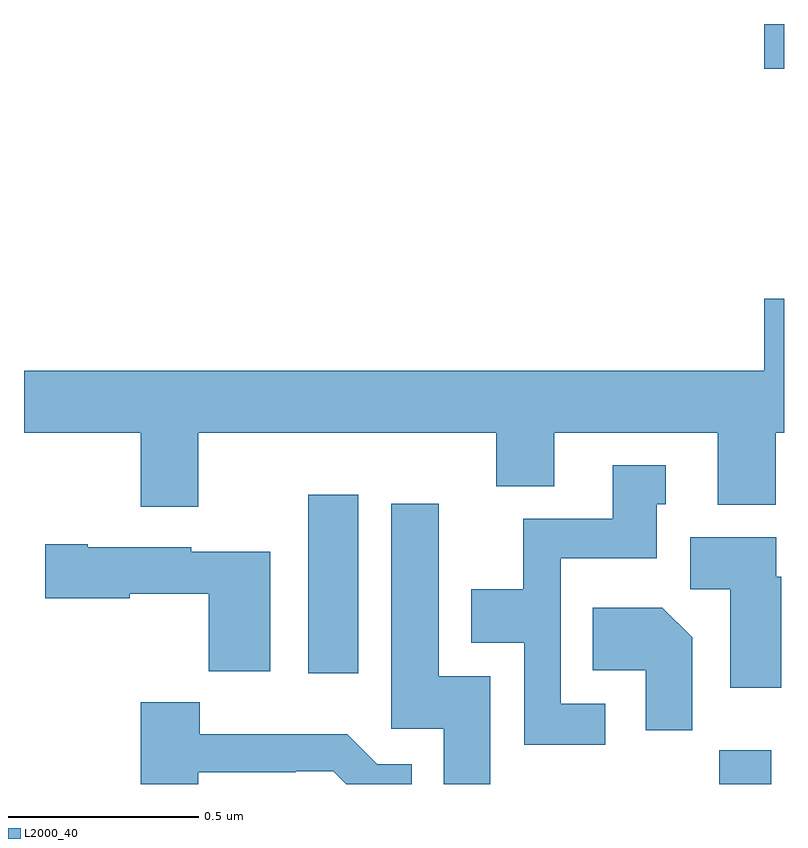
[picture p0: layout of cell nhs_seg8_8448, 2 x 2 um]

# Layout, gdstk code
import gdstk
lib = gdstk.Library(unit=1e-6, precision=1e-09)
def R(c, l, rs):  # rectangles x0, y0, x1, y1
    for r in rs: c.add(gdstk.rectangle(r[:2], r[2:], *l))
def P(c, l, *ps):  # polygons
    for p in ps: c.add(gdstk.Polygon(p, *l))
L2000_40 = (2000, 40)

nhs_seg8_8448 = lib.new_cell('nhs_seg8_8448')
R(nhs_seg8_8448, L2000_40, [(224.83,1124.9,224.966,1124.989), (223.748,1125.192,223.879,1125.661), (224.948,1126.782,225,1126.9)])
P(nhs_seg8_8448, L2000_40, [(223.459,1125.824),(224.243,1125.824),(224.243,1125.683),(224.395,1125.683),(224.395,1125.824),(224.825,1125.824),(224.825,1125.635),(224.978,1125.635),(224.978,1125.824),(225,1125.824),(225,1126.177),(224.948,1126.177),(224.948,1125.988),(223,1125.988),(223,1125.824),(223.307,1125.824),(223.307,1125.63),(223.459,1125.63)],
  [(224.53,1125.111),(224.412,1125.111),(224.412,1125.494),(224.665,1125.494),(224.665,1125.636),(224.689,1125.636),(224.689,1125.739),(224.549,1125.739),(224.549,1125.598),(224.314,1125.598),(224.314,1125.412),(224.177,1125.412),(224.177,1125.272),(224.316,1125.272),(224.316,1125.003),(224.53,1125.003)],
  [(224.227,1125.184),(224.092,1125.184),(224.092,1125.637),(223.967,1125.637),(223.967,1125.045),(224.105,1125.045),(224.105,1124.9),(224.227,1124.9)],
  [(224.993,1125.446),(224.98,1125.446),(224.98,1125.55),(224.753,1125.55),(224.753,1125.412),(224.858,1125.412),(224.858,1125.153),(224.993,1125.153)],
  [(223.648,1125.511),(223.44,1125.511),(223.44,1125.523),(223.168,1125.523),(223.168,1125.531),(223.056,1125.531),(223.056,1125.389),(223.278,1125.389),(223.278,1125.401),(223.486,1125.401),(223.486,1125.197),(223.648,1125.197)],
  [(224.758,1125.286),(224.68,1125.364),(224.497,1125.364),(224.497,1125.2),(224.636,1125.2),(224.636,1125.042),(224.758,1125.042)],
  [(223.459,1124.931),(223.715,1124.931),(223.715,1124.934),(223.814,1124.934),(223.848,1124.9),(224.02,1124.9),(224.02,1124.952),(223.929,1124.952),(223.851,1125.031),(223.462,1125.031),(223.462,1125.115),(223.307,1125.115),(223.307,1124.9),(223.459,1124.9)])

lib.write_gds('nhs_seg8_8448.gds')
